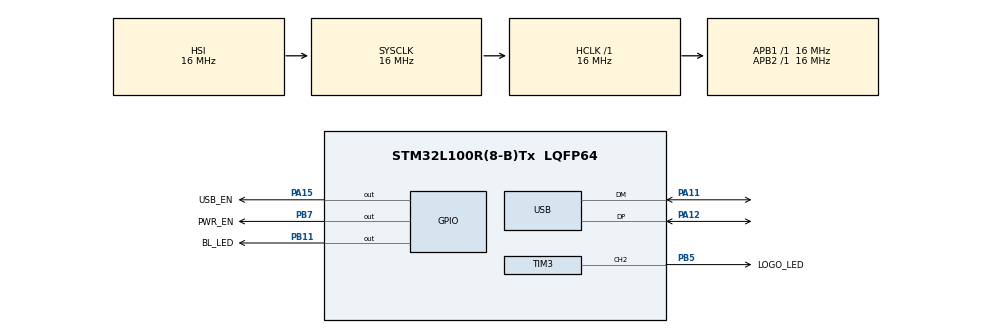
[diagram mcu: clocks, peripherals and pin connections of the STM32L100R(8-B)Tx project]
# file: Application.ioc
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Mcu.Family=STM32L1
Mcu.Name=STM32L100R(8-B)Tx
Mcu.Package=LQFP64
NVIC.PriorityGroup=NVIC_PRIORITYGROUP_4
PA11.Mode=Device
PA11.Signal=USB_DM
PA12.Mode=Device
PA12.Signal=USB_DP
PA13.GPIO_Label=SWDIO
PA13.Mode=Serial_Wire
PA13.Signal=SYS_JTMS-SWDIO
PA14.GPIO_Label=SWCLK
PA14.Mode=Serial_Wire
PA14.Signal=SYS_JTCK-SWCLK
PA15.GPIO_Label=USB_EN
PA15.GPIO_Speed=GPIO_SPEED_FREQ_HIGH
PA15.Signal=GPIO_Output
PB11.GPIO_Label=BL_LED
PB11.Signal=GPIO_Output
PB5.GPIO_Label=LOGO_LED
PB5.Signal=S_TIM3_CH2
PB7.GPIO_Label=PWR_EN
PB7.PinState=GPIO_PIN_SET
PB7.Signal=GPIO_Output
PH0-OSC_IN.Mode=HSE-External-Oscillator
PH0-OSC_IN.Signal=RCC_OSC_IN
PH1-OSC_OUT.Mode=HSE-External-Oscillator
PH1-OSC_OUT.Signal=RCC_OSC_OUT
ProjectManager.HeapSize=0x200
ProjectManager.StackSize=0x400
ProjectManager.TargetToolchain=MDK-ARM V5
RCC.48MHZClocksFreq_Value=48000000
RCC.AHBFreq_Value=16000000
RCC.APB1Freq_Value=16000000
RCC.APB1TimFreq_Value=16000000
RCC.APB2Freq_Value=16000000
RCC.APB2TimFreq_Value=16000000
RCC.HCLKFreq_Value=16000000
RCC.HSE_VALUE=8000000
RCC.HSI_VALUE=16000000
RCC.LSE_VALUE=32768
RCC.MSI_VALUE=2097000
RCC.PLLMUL=RCC_PLL_MUL12
RCC.PREFETCH_ENABLE=1
RCC.SYSCLKFreq_VALUE=16000000
RCC.SYSCLKSource=RCC_SYSCLKSOURCE_HSI
RCC.VCOOutputFreq_Value=96000000
SH.S_TIM3_CH2.0=TIM3_CH2,PWM Generation2 CH2
TIM3.Channel-PWM\ Generation2\ CH2=TIM_CHANNEL_2
TIM3.Period=999
TIM3.Prescaler=5
board=custom

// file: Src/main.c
/* USER CODE BEGIN Header */
/**
  ******************************************************************************
  * @file           : main.c
  * @brief          : Main program body
  ******************************************************************************
  * @attention
  *
  * <h2><center>&copy; Copyright (c) 2020 STMicroelectronics.
  * All rights reserved.</center></h2>
  *
  * This software component is licensed by ST under BSD 3-Clause license,
  * the "License"; You may not use this file except in compliance with the
  * License. You may obtain a copy of the License at:
  *                        opensource.org/licenses/BSD-3-Clause
  *
  ******************************************************************************
  */
/* USER CODE END Header */

#include "main.h"

TIM_HandleTypeDef htim3;

PCD_HandleTypeDef hpcd_USB_FS;

void SystemClock_Config(void);
static void MX_GPIO_Init(void);
static void MX_TIM3_Init(void);
static void MX_USB_PCD_Init(void);
/* USER CODE BEGIN PFP */
void LED_PWM_Set(uint16_t brightness);

/* USER CODE END PFP */

int main(void)
{
  /* USER CODE BEGIN 1 */
	SCB->VTOR = APP_ADDR;

	uint8_t dir = 0;
	uint16_t brightness = 0;
  /* USER CODE END 1 */

  /* MCU Configuration--------------------------------------------------------*/

  /* Reset of all peripherals, Initializes the Flash interface and the Systick. */
  HAL_Init();

  /* Configure the system clock */
  SystemClock_Config();

  /* Initialize all configured peripherals */
  MX_GPIO_Init();
  MX_TIM3_Init();
  MX_USB_PCD_Init();

  /* Infinite loop */
  /* USER CODE BEGIN WHILE */
  while (1)
  {
    if (dir == 0)
		{
			if (++brightness > 999)
			{
				dir = 1;
				HAL_GPIO_TogglePin(BL_LED_GPIO_Port,BL_LED_Pin);
			}
		}
		else
		{
			if (--brightness < 1)
			{
				dir = 0;
				HAL_GPIO_TogglePin(BL_LED_GPIO_Port,BL_LED_Pin);
			}
		}
		LED_PWM_Set(brightness);

    /* USER CODE END WHILE */

    /* USER CODE BEGIN 3 */
		HAL_Delay(1);
  }
  /* USER CODE END 3 */
}

void SystemClock_Config(void)
{
  RCC_OscInitTypeDef RCC_OscInitStruct = {0};
  RCC_ClkInitTypeDef RCC_ClkInitStruct = {0};

  /** Configure the main internal regulator output voltage
  */
  __HAL_PWR_VOLTAGESCALING_CONFIG(PWR_REGULATOR_VOLTAGE_SCALE1);
  /** Initializes the CPU, AHB and APB busses clocks
  */
  RCC_OscInitStruct.OscillatorType = RCC_OSCILLATORTYPE_HSI|RCC_OSCILLATORTYPE_HSE;
  RCC_OscInitStruct.HSEState = RCC_HSE_ON;
  RCC_OscInitStruct.HSIState = RCC_HSI_ON;
  RCC_OscInitStruct.HSICalibrationValue = RCC_HSICALIBRATION_DEFAULT;
  RCC_OscInitStruct.PLL.PLLState = RCC_PLL_ON;
  RCC_OscInitStruct.PLL.PLLSource = RCC_PLLSOURCE_HSE;
  RCC_OscInitStruct.PLL.PLLMUL = RCC_PLL_MUL12;
  RCC_OscInitStruct.PLL.PLLDIV = RCC_PLL_DIV2;
  if (HAL_RCC_OscConfig(&RCC_OscInitStruct) != HAL_OK)
  {
    Error_Handler();
  }
  /** Initializes the CPU, AHB and APB busses clocks
  */
  RCC_ClkInitStruct.ClockType = RCC_CLOCKTYPE_HCLK|RCC_CLOCKTYPE_SYSCLK
                              |RCC_CLOCKTYPE_PCLK1|RCC_CLOCKTYPE_PCLK2;
  RCC_ClkInitStruct.SYSCLKSource = RCC_SYSCLKSOURCE_HSI;
  RCC_ClkInitStruct.AHBCLKDivider = RCC_SYSCLK_DIV1;
  RCC_ClkInitStruct.APB1CLKDivider = RCC_HCLK_DIV1;
  RCC_ClkInitStruct.APB2CLKDivider = RCC_HCLK_DIV1;

  if (HAL_RCC_ClockConfig(&RCC_ClkInitStruct, FLASH_LATENCY_0) != HAL_OK)
  {
    Error_Handler();
  }
}

static void MX_TIM3_Init(void)
{

  TIM_MasterConfigTypeDef sMasterConfig = {0};
  TIM_OC_InitTypeDef sConfigOC = {0};

  htim3.Instance = TIM3;
  htim3.Init.Prescaler = 5;
  htim3.Init.CounterMode = TIM_COUNTERMODE_UP;
  htim3.Init.Period = 999;
  htim3.Init.ClockDivision = TIM_CLOCKDIVISION_DIV1;
  htim3.Init.AutoReloadPreload = TIM_AUTORELOAD_PRELOAD_DISABLE;
  if (HAL_TIM_PWM_Init(&htim3) != HAL_OK)
  {
    Error_Handler();
  }
  sMasterConfig.MasterOutputTrigger = TIM_TRGO_RESET;
  sMasterConfig.MasterSlaveMode = TIM_MASTERSLAVEMODE_DISABLE;
  if (HAL_TIMEx_MasterConfigSynchronization(&htim3, &sMasterConfig) != HAL_OK)
  {
    Error_Handler();
  }
  sConfigOC.OCMode = TIM_OCMODE_PWM1;
  sConfigOC.Pulse = 0;
  sConfigOC.OCPolarity = TIM_OCPOLARITY_HIGH;
  sConfigOC.OCFastMode = TIM_OCFAST_DISABLE;
  if (HAL_TIM_PWM_ConfigChannel(&htim3, &sConfigOC, TIM_CHANNEL_2) != HAL_OK)
  {
    Error_Handler();
  }
  /* USER CODE BEGIN TIM3_Init 2 */
	HAL_TIM_PWM_Start(&htim3, TIM_CHANNEL_2);
  /* USER CODE END TIM3_Init 2 */
  HAL_TIM_MspPostInit(&htim3);

}

static void MX_USB_PCD_Init(void)
{

  hpcd_USB_FS.Instance = USB;
  hpcd_USB_FS.Init.dev_endpoints = 8;
  hpcd_USB_FS.Init.speed = PCD_SPEED_FULL;
  hpcd_USB_FS.Init.phy_itface = PCD_PHY_EMBEDDED;
  hpcd_USB_FS.Init.low_power_enable = DISABLE;
  hpcd_USB_FS.Init.battery_charging_enable = DISABLE;
  if (HAL_PCD_Init(&hpcd_USB_FS) != HAL_OK)
  {
    Error_Handler();
  }

}

static void MX_GPIO_Init(void)
{
  GPIO_InitTypeDef GPIO_InitStruct = {0};

  /* GPIO Ports Clock Enable */
  __HAL_RCC_GPIOH_CLK_ENABLE();
  __HAL_RCC_GPIOB_CLK_ENABLE();
  __HAL_RCC_GPIOA_CLK_ENABLE();

  /*Configure GPIO pin Output Level */
  HAL_GPIO_WritePin(BL_LED_GPIO_Port, BL_LED_Pin, GPIO_PIN_RESET);

  /*Configure GPIO pin Output Level */
  HAL_GPIO_WritePin(USB_EN_GPIO_Port, USB_EN_Pin, GPIO_PIN_RESET);

  /*Configure GPIO pin Output Level */
  HAL_GPIO_WritePin(PWR_EN_GPIO_Port, PWR_EN_Pin, GPIO_PIN_SET);

  /*Configure GPIO pins : BL_LED_Pin PWR_EN_Pin */
  GPIO_InitStruct.Pin = BL_LED_Pin|PWR_EN_Pin;
  GPIO_InitStruct.Mode = GPIO_MODE_OUTPUT_PP;
  GPIO_InitStruct.Pull = GPIO_NOPULL;
  GPIO_InitStruct.Speed = GPIO_SPEED_FREQ_LOW;
  HAL_GPIO_Init(GPIOB, &GPIO_InitStruct);

  /*Configure GPIO pin : USB_EN_Pin */
  GPIO_InitStruct.Pin = USB_EN_Pin;
  GPIO_InitStruct.Mode = GPIO_MODE_OUTPUT_PP;
  GPIO_InitStruct.Pull = GPIO_NOPULL;
  GPIO_InitStruct.Speed = GPIO_SPEED_FREQ_HIGH;
  HAL_GPIO_Init(USB_EN_GPIO_Port, &GPIO_InitStruct);

}

/* USER CODE BEGIN 4 */
void LED_PWM_Set(uint16_t brightness)
{
	__HAL_TIM_SET_COMPARE(&htim3, TIM_CHANNEL_2, brightness);
}
/* USER CODE END 4 */

void Error_Handler(void)
{
}

/************************ (C) COPYRIGHT STMicroelectronics *****END OF FILE****/
